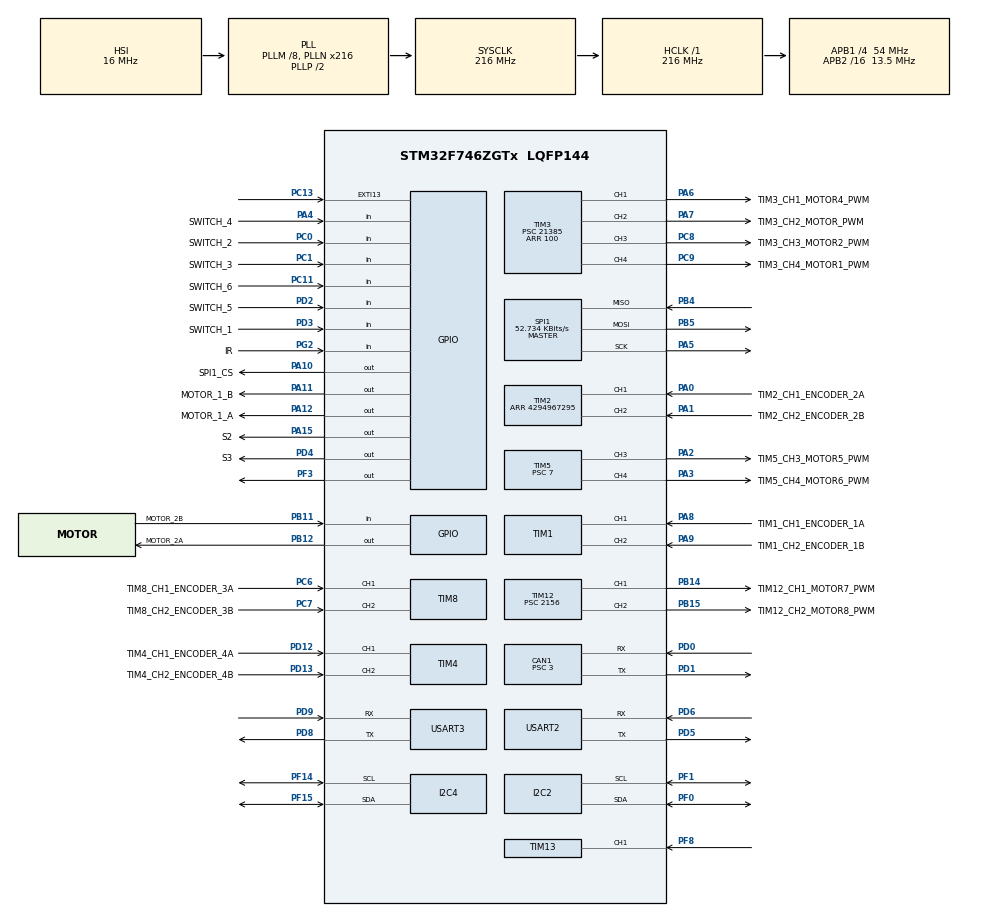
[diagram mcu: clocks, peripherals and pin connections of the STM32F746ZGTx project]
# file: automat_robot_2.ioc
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CAN1.BS1=CAN_BS1_16TQ
CAN1.BS2=CAN_BS2_1TQ
CAN1.CalculateBaudRate=1000000
CAN1.CalculateTimeBit=1000
CAN1.CalculateTimeQuantum=55.55555555555556
CAN1.NART=ENABLE
CAN1.Prescaler=3
FREERTOS.Tasks01=Wheelcontrol,0,128,Wheeltask,Default,NULL,Dynamic,NULL,NULL;Joystick,0,2048,task2_joystick,Default,NULL,Dynamic,NULL,NULL;updowncontrol,0,512,dcmotor,Default,NULL,Dynamic,NULL,NULL;Target_pos,0,512,Colorcheck,Default,NULL,Dynamic,NULL,NULL;Color,-3,128,StartTask05,Default,NULL,Dynamic,NULL,NULL
I2C2.Timing=0x20404768
I2C4.Timing=0x20404768
Mcu.Family=STM32F7
Mcu.Name=STM32F746ZGTx
Mcu.Package=LQFP144
NVIC.PriorityGroup=NVIC_PRIORITYGROUP_4
NVIC.TIM1_UP_TIM10_IRQn=true\:5\:0\:false\:false\:true\:true\:true\:true\:true
NVIC.TIM8_UP_TIM13_IRQn=true\:5\:0\:false\:false\:true\:true\:true\:true\:true
PA0/WKUP.GPIO_Label=TIM2_CH1_ENCODER_2A
PA0/WKUP.Signal=S_TIM2_CH1_ETR
PA1.GPIO_Label=TIM2_CH2_ENCODER_2B
PA1.Signal=S_TIM2_CH2
PA10.GPIO_Label=SPI1_CS
PA10.Signal=GPIO_Output
PA11.GPIO_Label=MOTOR_1_B
PA11.Signal=GPIO_Output
PA12.GPIO_Label=MOTOR_1_A
PA12.Signal=GPIO_Output
PA13.Mode=Serial_Wire
PA13.Signal=SYS_JTMS-SWDIO
PA14.Mode=Serial_Wire
PA14.Signal=SYS_JTCK-SWCLK
PA15.GPIO_Label=S2
PA15.Signal=GPIO_Output
PA2.GPIO_Label=TIM5_CH3_MOTOR5_PWM
PA2.Signal=S_TIM5_CH3
PA3.GPIO_Label=TIM5_CH4_MOTOR6_PWM
PA3.Signal=S_TIM5_CH4
PA4.GPIO_Label=SWITCH_4
PA4.Signal=GPIO_Input
PA5.Mode=Full_Duplex_Master
PA5.Signal=SPI1_SCK
PA6.GPIO_Label=TIM3_CH1_MOTOR4_PWM
PA6.Signal=S_TIM3_CH1
PA7.GPIO_Label=TIM3_CH2_MOTOR_PWM
PA7.Signal=S_TIM3_CH2
PA8.GPIO_Label=TIM1_CH1_ENCODER_1A
PA8.Signal=S_TIM1_CH1
PA9.GPIO_Label=TIM1_CH2_ENCODER_1B
PA9.Signal=S_TIM1_CH2
PB11.GPIO_Label=MOTOR_2B
PB11.Signal=GPIO_Input
PB12.GPIO_Label=MOTOR_2A
PB12.Signal=GPIO_Output
PB14.GPIO_Label=TIM12_CH1_MOTOR7_PWM
PB14.Signal=S_TIM12_CH1
PB15.GPIO_Label=TIM12_CH2_MOTOR8_PWM
PB15.Signal=S_TIM12_CH2
PB4.GPIO_PuPd=GPIO_PULLUP
PB4.Mode=Full_Duplex_Master
PB4.Signal=SPI1_MISO
PB5.Mode=Full_Duplex_Master
PB5.Signal=SPI1_MOSI
PC0.GPIO_Label=SWITCH_2
PC0.Signal=GPIO_Input
PC1.GPIO_Label=SWITCH_3
PC1.Signal=GPIO_Input
PC11.GPIO_Label=SWITCH_6
PC11.Signal=GPIO_Input
PC13.Signal=GPXTI13
PC14/OSC32_IN.Mode=LSE-External-Oscillator
PC14/OSC32_IN.Signal=RCC_OSC32_IN
PC15/OSC32_OUT.Mode=LSE-External-Oscillator
PC15/OSC32_OUT.Signal=RCC_OSC32_OUT
PC6.GPIO_Label=TIM8_CH1_ENCODER_3A
PC6.Signal=S_TIM8_CH1
PC7.GPIO_Label=TIM8_CH2_ENCODER_3B
PC7.Signal=S_TIM8_CH2
PC8.GPIO_Label=TIM3_CH3_MOTOR2_PWM
PC8.Signal=S_TIM3_CH3
PC9.GPIO_Label=TIM3_CH4_MOTOR1_PWM
PC9.Signal=S_TIM3_CH4
PD0.Mode=CAN_Activate
PD0.Signal=CAN1_RX
PD1.Mode=CAN_Activate
PD1.Signal=CAN1_TX
PD12.GPIO_Label=TIM4_CH1_ENCODER_4A
PD12.Signal=S_TIM4_CH1
PD13.GPIO_Label=TIM4_CH2_ENCODER_4B
PD13.Signal=S_TIM4_CH2
PD2.GPIO_Label=SWITCH_5
PD2.Signal=GPIO_Input
PD3.GPIO_Label=SWITCH_1
PD3.Signal=GPIO_Input
PD4.GPIO_Label=S3
PD4.Signal=GPIO_Output
PD5.Mode=Asynchronous
PD5.Signal=USART2_TX
PD6.Mode=Asynchronous
PD6.Signal=USART2_RX
PD8.Mode=Asynchronous
PD8.Signal=USART3_TX
PD9.Mode=Asynchronous
PD9.Signal=USART3_RX
PF0.Mode=I2C
PF0.Signal=I2C2_SDA
PF1.Mode=I2C
PF1.Signal=I2C2_SCL
PF14.Mode=I2C
PF14.Signal=I2C4_SCL
PF15.Mode=I2C
PF15.Signal=I2C4_SDA
PF3.Signal=GPIO_Output
PF8.Signal=S_TIM13_CH1
PG2.GPIO_Label=IR
PG2.Signal=GPIO_Input
PH0/OSC_IN.Mode=HSE-External-Clock-Source
PH0/OSC_IN.Signal=RCC_OSC_IN
PH1/OSC_OUT.Mode=HSE-External-Clock-Source
PH1/OSC_OUT.Signal=RCC_OSC_OUT
ProjectManager.HeapSize=0x200
ProjectManager.StackSize=0x400
ProjectManager.TargetToolchain=STM32CubeIDE
RCC.48MHZClocksFreq_Value=24000000
RCC.AHBFreq_Value=216000000
RCC.APB1CLKDivider=RCC_HCLK_DIV4
RCC.APB1Freq_Value=54000000
RCC.APB1TimFreq_Value=108000000
RCC.APB2CLKDivider=RCC_HCLK_DIV16
RCC.APB2Freq_Value=13500000
RCC.APB2TimFreq_Value=27000000
RCC.CortexFreq_Value=216000000
RCC.HCLKFreq_Value=216000000
RCC.HSE_VALUE=8000000
RCC.HSI_VALUE=16000000
RCC.PLLM=8
RCC.PLLMUL=RCC_PLL_MUL9
RCC.PLLN=216
RCC.PLLQ=3
RCC.PRESCALERUSB=RCC_USBCLKSOURCE_PLL_DIV1_5
RCC.SYSCLKFreq_VALUE=216000000
RCC.SYSCLKSource=RCC_SYSCLKSOURCE_PLLCLK
RCC.SYSCLKSourceVirtual=RCC_SYSCLKSOURCE_PLLCLK
RCC.USBFreq_Value=144000000
RCC.VCOOutputFreq_Value=432000000
SH.S_TIM12_CH1.0=TIM12_CH1,PWM Generation1 CH1
SH.S_TIM12_CH2.0=TIM12_CH2,PWM Generation2 CH2
SH.S_TIM13_CH1.0=TIM13_CH1,Input_Capture1_from_TI1
SH.S_TIM1_CH1.0=TIM1_CH1,Encoder_Interface
SH.S_TIM1_CH2.0=TIM1_CH2,Encoder_Interface
SH.S_TIM2_CH1_ETR.0=TIM2_CH1,Encoder_Interface
SH.S_TIM2_CH2.0=TIM2_CH2,Encoder_Interface
SH.S_TIM3_CH1.0=TIM3_CH1,PWM Generation1 CH1
SH.S_TIM3_CH2.0=TIM3_CH2,PWM Generation2 CH2
SH.S_TIM3_CH3.0=TIM3_CH3,PWM Generation3 CH3
SH.S_TIM3_CH4.0=TIM3_CH4,PWM Generation4 CH4
SH.S_TIM4_CH1.0=TIM4_CH1,Encoder_Interface
SH.S_TIM4_CH2.0=TIM4_CH2,Encoder_Interface
SH.S_TIM5_CH3.0=TIM5_CH3,PWM Generation3 CH3
SH.S_TIM5_CH4.0=TIM5_CH4,PWM Generation4 CH4
SH.S_TIM8_CH1.0=TIM8_CH1,Encoder_Interface
SH.S_TIM8_CH2.0=TIM8_CH2,Encoder_Interface
SPI1.BaudRatePrescaler=SPI_BAUDRATEPRESCALER_256
SPI1.CLKPhase=SPI_PHASE_2EDGE
SPI1.CLKPolarity=SPI_POLARITY_HIGH
SPI1.CalculateBaudRate=52.734 KBits/s
SPI1.DataSize=SPI_DATASIZE_8BIT
SPI1.Direction=SPI_DIRECTION_2LINES
SPI1.FirstBit=SPI_FIRSTBIT_LSB
SPI1.Mode=SPI_MODE_MASTER
SPI1.VirtualType=VM_MASTER
TIM1.EncoderMode=TIM_ENCODERMODE_TI12
TIM1.IC1Polarity=TIM_ICPOLARITY_FALLING
TIM1.IC2Polarity=TIM_ICPOLARITY_FALLING
TIM12.Channel-PWM\ Generation1\ CH1=TIM_CHANNEL_1
TIM12.Channel-PWM\ Generation2\ CH2=TIM_CHANNEL_2
TIM12.OCPolarity_1=TIM_OCPOLARITY_LOW
TIM12.OCPolarity_2=TIM_OCPOLARITY_LOW
TIM12.Period=1000
TIM12.Prescaler=2156
TIM13.Channel=TIM_CHANNEL_1
TIM2.EncoderMode=TIM_ENCODERMODE_TI12
TIM2.IC1Polarity=TIM_ICPOLARITY_FALLING
TIM2.IC2Polarity=TIM_ICPOLARITY_FALLING
TIM2.Period=4294967295
TIM3.Channel-PWM\ Generation1\ CH1=TIM_CHANNEL_1
TIM3.Channel-PWM\ Generation2\ CH2=TIM_CHANNEL_2
TIM3.Channel-PWM\ Generation3\ CH3=TIM_CHANNEL_3
TIM3.Channel-PWM\ Generation4\ CH4=TIM_CHANNEL_4
TIM3.OCPolarity_4=TIM_OCPOLARITY_LOW
TIM3.Period=100
TIM3.Prescaler=21385
TIM4.EncoderMode=TIM_ENCODERMODE_TI12
TIM4.IC1Polarity=TIM_ICPOLARITY_FALLING
TIM4.IC2Polarity=TIM_ICPOLARITY_FALLING
TIM5.Channel-PWM\ Generation3\ CH3=TIM_CHANNEL_3
TIM5.Channel-PWM\ Generation4\ CH4=TIM_CHANNEL_4
TIM5.OCPolarity_3=TIM_OCPOLARITY_LOW
TIM5.Period=25000
TIM5.Prescaler=7
TIM8.EncoderMode=TIM_ENCODERMODE_TI12
TIM8.IC1Polarity=TIM_ICPOLARITY_FALLING
TIM8.IC2Polarity=TIM_ICPOLARITY_FALLING
USART2.VirtualMode-Asynchronous=VM_ASYNC
USART3.VirtualMode-Asynchronous=VM_ASYNC
VP_FREERTOS_VS_CMSIS_V1.Mode=CMSIS_V1
VP_TIM13_VS_ClockSourceINT.Mode=Enable_Timer
board=NUCLEO-F746ZG

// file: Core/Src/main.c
/* USER CODE BEGIN Header */
/**
  ******************************************************************************
  * @file           : main.c
  * @brief          : Main program body
  ******************************************************************************
  * @attention
  *
  * Copyright (c) 2024 STMicroelectronics.
  * All rights reserved.
  *
  * This software is licensed under terms that can be found in the LICENSE file
  * in the root directory of this software component.
  * If no LICENSE file comes with this software, it is provided AS-IS.
  *
  ******************************************************************************
  */
/* USER CODE END Header */
#include "main.h"
#include "cmsis_os.h"

/* USER CODE BEGIN Includes */
#include "stdio.h"
#include "string.h"
#include "math.h"
#include "stdlib.h"
#include "stdbool.h"
#include "mainpp.h"
/* USER CODE END Includes */

/* USER CODE BEGIN PTD */
#define CAN1_DEVICE_NUM     4
#define FIRST_GROUP_ID      0x200
#define MOTOR_SPEED_MAX     16384
#define CAN_DATA_SIZE       8
#define CAN1_RX_ID_START    0x201
#define MOTOR_ID            4
#define spi_enable      HAL_GPIO_WritePin(GPIOA, GPIO_PIN_10, GPIO_PIN_RESET)
#define spi_disable     HAL_GPIO_WritePin(GPIOA, GPIO_PIN_10, GPIO_PIN_SET)
/* USER CODE END PTD */

/* USER CODE BEGIN PD */
typedef struct
{
	float KP;
	float KI;
	float KD;
	int error;
	int I_error;
	int D_error;
	int lastError;

} PID_Variables;
typedef struct
{
	int LY;
	int LX;
	int RY;
	int RX;
	double X;
	double Y;
}joystick_variables;

typedef struct
{
	int target_pos;
	int32_t my_pos;
	float ControlSignal;
	int PWM;
}DC_Motor;
typedef struct
{
	int16_t setpoint;
	int16_t Out;
	uint16_t ID;
	int16_t en_speed;
} M3508_Variables;
#define MPU6050_ADDR 0xD0
#define SMPLRT_DIV_REG 0x19
#define GYRO_CONFIG_REG 0x1B
#define ACCEL_CONFIG_REG 0x1C
#define ACCEL_XOUT_H_REG 0x3B
#define TEMP_OUT_H_REG 0x41
#define GYRO_XOUT_H_REG 0x43
#define PWR_MGMT_1_REG 0x6B
#define WHO_AM_I_REG 0x75
/* USER CODE END PD */

CAN_HandleTypeDef hcan1;

I2C_HandleTypeDef hi2c2;
I2C_HandleTypeDef hi2c4;

SPI_HandleTypeDef hspi1;

TIM_HandleTypeDef htim1;
TIM_HandleTypeDef htim2;
TIM_HandleTypeDef htim3;
TIM_HandleTypeDef htim4;
TIM_HandleTypeDef htim5;
TIM_HandleTypeDef htim8;
TIM_HandleTypeDef htim12;
TIM_HandleTypeDef htim13;

UART_HandleTypeDef huart2;
UART_HandleTypeDef huart3;

osThreadId WheelcontrolHandle;
osThreadId JoystickHandle;
osThreadId updowncontrolHandle;
osThreadId Target_posHandle;
osThreadId ColorHandle;
/* USER CODE BEGIN PV */
int16_t Accel_X_Raw;
int16_t Accel_Y_Raw;
int16_t Accel_Z_Raw;

double pi=3.14159265359;
double ML;
double MR;
extern int right_joy;
extern double left_joy, left_y;
double speed;
double degree_a;

float freq=0;
float blue_freq;
float red_freq;
float dif=0;
float cTime=0;
float pTime=0;
float dTime=0;
float Ax;
float Ay;
float Az;

int vel_up=0;
int IR = 0;
int motor_dir=0;
int is_first=0;
int ic1=0;
int ic2=0;
int red=0;
int blue=0;
int yellow=0;
int flag=0;
int BLDC = 0;
int color_flag=0;
int color_value=0;
int imu_x=0;
int switch_1;
int switch_2;
int switch_3;
int switch_4;
int switch_5;
int switch_6;
int target_pos;
int My_pos;
int shalgaj_duusah=0;
bool bombogav_cnt = false;
bool take_ball = false;
int32_t count;
uint8_t HC_PS2_RX[9];
uint8_t HC_PS2_TX[9]={0x01, 0x42, 0x00, 0x00, 0x00, 0x00, 0x00, 0x00, 0x00,};
uint8_t RxData[1];
int16_t sensor_buff[5];

uint8_t             data[8];
uint8_t 			buffer[8];
uint32_t            pTxMailbox;
uint8_t 			rxData[8];
PID_Variables M1_pid;
PID_Variables M2_pid;
PID_Variables M3_pid;
PID_Variables M4_pid;
PID_Variables DC_pid;

M3508_Variables M1;
M3508_Variables M2;
M3508_Variables M3;
M3508_Variables M4;

DC_Motor Motor;
joystick_variables PS2;

CAN_FilterTypeDef sFilterConfig;
CAN_TxHeaderTypeDef txHeader;
CAN_RxHeaderTypeDef rxHeader;
/* USER CODE END PV */

void SystemClock_Config(void);
static void MX_GPIO_Init(void);
static void MX_USART3_UART_Init(void);
static void MX_CAN1_Init(void);
static void MX_I2C2_Init(void);
static void MX_I2C4_Init(void);
static void MX_SPI1_Init(void);
static void MX_TIM1_Init(void);
static void MX_TIM2_Init(void);
static void MX_TIM3_Init(void);
static void MX_TIM4_Init(void);
static void MX_TIM5_Init(void);
static void MX_TIM8_Init(void);
static void MX_TIM12_Init(void);
static void MX_USART2_UART_Init(void);
static void MX_TIM13_Init(void);
void Wheeltask(void const * argument);
void task2_joystick(void const * argument);
void dcmotor(void const * argument);
void Colorcheck(void const * argument);
void StartTask05(void const * argument);

/* USER CODE BEGIN PFP */
//void calculatePID(void);
void motorspeed(void);
int Color_Sensor();
/* USER CODE END PFP */

int main(void)
{

  /* MCU Configuration--------------------------------------------------------*/

  /* Reset of all peripherals, Initializes the Flash interface and the Systick. */
    HAL_Init();

  /* Configure the system clock */
  SystemClock_Config();

  /* Initialize all configured peripherals */
  MX_GPIO_Init();
  MX_USART3_UART_Init();
  MX_CAN1_Init();
  MX_I2C2_Init();
  MX_I2C4_Init();
  MX_SPI1_Init();
  MX_TIM1_Init();
  MX_TIM2_Init();
  MX_TIM3_Init();
  MX_TIM4_Init();
  MX_TIM5_Init();
  MX_TIM8_Init();
  MX_TIM12_Init();
  MX_USART2_UART_Init();
  MX_TIM13_Init();
  /* USER CODE BEGIN 2 */
  HAL_TIM_Encoder_Start(&htim2, TIM_CHANNEL_ALL);
  HAL_TIM_PWM_Start(&htim12, TIM_CHANNEL_1);
  HAL_TIM_PWM_Start(&htim12, TIM_CHANNEL_2);
  HAL_TIM_PWM_Start(&htim3, TIM_CHANNEL_4);
  HAL_TIM_IC_Start_IT(&htim13, TIM_CHANNEL_1);
//  while(1){
//	  if(mode=1){
//		  HAL_GPIO_WritePin(MOTOR_1_A_GPIO_Port, MOTOR_1_A_Pin, GPIO_PIN_SET);
//		  HAL_GPIO_WritePin(MOTOR_1_B_GPIO_Port, MOTOR_1_B_Pin, GPIO_PIN_RESET);
//		  TIM3->CCR4 = 40;
//	  }
//	  if(mode=0){
//	  		  HAL_GPIO_WritePin(MOTOR_1_A_GPIO_Port, MOTOR_1_A_Pin, GPIO_PIN_SET);
//	  		  HAL_GPIO_WritePin(MOTOR_1_B_GPIO_Port, MOTOR_1_B_Pin, GPIO_PIN_SET);
//	  		  TIM3->CCR4 = 1;
//	  	  }
//	  if(mode=-1){
//	  		  HAL_GPIO_WritePin(MOTOR_1_A_GPIO_Port, MOTOR_1_A_Pin, GPIO_PIN_RESET);
//	  		  HAL_GPIO_WritePin(MOTOR_1_B_GPIO_Port, MOTOR_1_B_Pin, GPIO_PIN_SET);
//	  		  TIM3->CCR4 = 60;
//	  	  }
//	  if(mode=2){
//	 	  		  HAL_GPIO_WritePin(MOTOR_1_A_GPIO_Port, MOTOR_1_A_Pin, GPIO_PIN_RESET);
//	 	  		  HAL_GPIO_WritePin(MOTOR_1_B_GPIO_Port, MOTOR_1_B_Pin, GPIO_PIN_RESET);
//
//	 	  	  }
//	  if(((HAL_GPIO_ReadPin(SWITCH_3_GPIO_Port, SWITCH_3_Pin))==0 || (HAL_GPIO_ReadPin(SWITCH_4_GPIO_Port, SWITCH_4_Pin))==0)&& RX[4]==254){
//		mode=1;
//	  }
//	  if(((HAL_GPIO_ReadPin(SWITCH_1_GPIO_Port, SWITCH_1_Pin))==0 || (HAL_GPIO_ReadPin(SWITCH_2_GPIO_Port, SWITCH_2_Pin))==0)&& RX[4]==255){
//	  		mode=0;
//	  	  }
//	  if(((HAL_GPIO_ReadPin(SWITCH_1_GPIO_Port, SWITCH_1_Pin))==0 || (HAL_GPIO_ReadPin(SWITCH_2_GPIO_Port, SWITCH_2_Pin))==0)&& RX[4]==254){
//	  	  		mode=-1;
//	  	  	  }
//	  if(((HAL_GPIO_ReadPin(SWITCH_3_GPIO_Port, SWITCH_3_Pin))==0 || (HAL_GPIO_ReadPin(SWITCH_4_GPIO_Port, SWITCH_4_Pin))==0)&& RX[4]==255){
//	  	  		mode=2;
//	  	  	  }
//
//  }

  /* USER CODE END 2 */

  /* Create the thread(s) */
  /* definition and creation of Wheelcontrol */
  osThreadDef(Wheelcontrol, Wheeltask, osPriorityNormal, 0, 128);
  WheelcontrolHandle = osThreadCreate(osThread(Wheelcontrol), NULL);

  /* definition and creation of Joystick */
  osThreadDef(Joystick, task2_joystick, osPriorityNormal, 0, 2048);
  JoystickHandle = osThreadCreate(osThread(Joystick), NULL);

  /* definition and creation of updowncontrol */
  osThreadDef(updowncontrol, dcmotor, osPriorityNormal, 0, 512);
  updowncontrolHandle = osThreadCreate(osThread(updowncontrol), NULL);

  /* definition and creation of Target_pos */
  osThreadDef(Target_pos, Colorcheck, osPriorityNormal, 0, 512);
  Target_posHandle = osThreadCreate(osThread(Target_pos), NULL);

  /* definition and creation of Color */
  osThreadDef(Color, StartTask05, osPriorityIdle, 0, 128);
  ColorHandle = osThreadCreate(osThread(Color), NULL);

  /* Start scheduler */
  osKernelStart();

  /* We should never get here as control is now taken by the scheduler */
  /* Infinite loop */
  while (1)
  {

  }
}

void SystemClock_Config(void)
{
  RCC_OscInitTypeDef RCC_OscInitStruct = {0};
  RCC_ClkInitTypeDef RCC_ClkInitStruct = {0};

  /** Configure LSE Drive Capability
  */
  HAL_PWR_EnableBkUpAccess();

  /** Configure the main internal regulator output voltage
  */
  __HAL_RCC_PWR_CLK_ENABLE();
  __HAL_PWR_VOLTAGESCALING_CONFIG(PWR_REGULATOR_VOLTAGE_SCALE1);

  /** Initializes the RCC Oscillators according to the specified parameters
  * in the RCC_OscInitTypeDef structure.
  */
  RCC_OscInitStruct.OscillatorType = RCC_OSCILLATORTYPE_HSI;
  RCC_OscInitStruct.HSIState = RCC_HSI_ON;
  RCC_OscInitStruct.HSICalibrationValue = RCC_HSICALIBRATION_DEFAULT;
  RCC_OscInitStruct.PLL.PLLState = RCC_PLL_ON;
  RCC_OscInitStruct.PLL.PLLSource = RCC_PLLSOURCE_HSI;
  RCC_OscInitStruct.PLL.PLLM = 8;
  RCC_OscInitStruct.PLL.PLLN = 216;
  RCC_OscInitStruct.PLL.PLLP = RCC_PLLP_DIV2;
  RCC_OscInitStruct.PLL.PLLQ = 3;
  if (HAL_RCC_OscConfig(&RCC_OscInitStruct) != HAL_OK)
  {
    Error_Handler();
  }

  /** Activate the Over-Drive mode
  */
  if (HAL_PWREx_EnableOverDrive() != HAL_OK)
  {
    Error_Handler();
  }

  /** Initializes the CPU, AHB and APB buses clocks
  */
  RCC_ClkInitStruct.ClockType = RCC_CLOCKTYPE_HCLK|RCC_CLOCKTYPE_SYSCLK
                              |RCC_CLOCKTYPE_PCLK1|RCC_CLOCKTYPE_PCLK2;
  RCC_ClkInitStruct.SYSCLKSource = RCC_SYSCLKSOURCE_PLLCLK;
  RCC_ClkInitStruct.AHBCLKDivider = RCC_SYSCLK_DIV1;
  RCC_ClkInitStruct.APB1CLKDivider = RCC_HCLK_DIV4;
  RCC_ClkInitStruct.APB2CLKDivider = RCC_HCLK_DIV16;

  if (HAL_RCC_ClockConfig(&RCC_ClkInitStruct, FLASH_LATENCY_7) != HAL_OK)
  {
    Error_Handler();
  }
}

static void MX_CAN1_Init(void)
{

  hcan1.Instance = CAN1;
  hcan1.Init.Prescaler = 3;
  hcan1.Init.Mode = CAN_MODE_NORMAL;
  hcan1.Init.SyncJumpWidth = CAN_SJW_1TQ;
  hcan1.Init.TimeSeg1 = CAN_BS1_16TQ;
  hcan1.Init.TimeSeg2 = CAN_BS2_1TQ;
  hcan1.Init.TimeTriggeredMode = DISABLE;
  hcan1.Init.AutoBusOff = DISABLE;
  hcan1.Init.AutoWakeUp = DISABLE;
  hcan1.Init.AutoRetransmission = ENABLE;
  hcan1.Init.ReceiveFifoLocked = DISABLE;
  hcan1.Init.TransmitFifoPriority = DISABLE;
  if (HAL_CAN_Init(&hcan1) != HAL_OK)
  {
    Error_Handler();
  }

}

static void MX_I2C2_Init(void)
{

  hi2c2.Instance = I2C2;
  hi2c2.Init.Timing = 0x20404768;
  hi2c2.Init.OwnAddress1 = 0;
  hi2c2.Init.AddressingMode = I2C_ADDRESSINGMODE_7BIT;
  hi2c2.Init.DualAddressMode = I2C_DUALADDRESS_DISABLE;
  hi2c2.Init.OwnAddress2 = 0;
  hi2c2.Init.OwnAddress2Masks = I2C_OA2_NOMASK;
  hi2c2.Init.GeneralCallMode = I2C_GENERALCALL_DISABLE;
  hi2c2.Init.NoStretchMode = I2C_NOSTRETCH_DISABLE;
  if (HAL_I2C_Init(&hi2c2) != HAL_OK)
  {
    Error_Handler();
  }

  /** Configure Analogue filter
  */
  if (HAL_I2CEx_ConfigAnalogFilter(&hi2c2, I2C_ANALOGFILTER_ENABLE) != HAL_OK)
  {
    Error_Handler();
  }

  /** Configure Digital filter
  */
  if (HAL_I2CEx_ConfigDigitalFilter(&hi2c2, 0) != HAL_OK)
  {
    Error_Handler();
  }

}

static void MX_I2C4_Init(void)
{

  hi2c4.Instance = I2C4;
  hi2c4.Init.Timing = 0x20404768;
  hi2c4.Init.OwnAddress1 = 0;
  hi2c4.Init.AddressingMode = I2C_ADDRESSINGMODE_7BIT;
  hi2c4.Init.DualAddressMode = I2C_DUALADDRESS_DISABLE;
  hi2c4.Init.OwnAddress2 = 0;
  hi2c4.Init.OwnAddress2Masks = I2C_OA2_NOMASK;
  hi2c4.Init.GeneralCallMode = I2C_GENERALCALL_DISABLE;
  hi2c4.Init.NoStretchMode = I2C_NOSTRETCH_DISABLE;
  if (HAL_I2C_Init(&hi2c4) != HAL_OK)
  {
    Error_Handler();
  }

  /** Configure Analogue filter
  */
  if (HAL_I2CEx_ConfigAnalogFilter(&hi2c4, I2C_ANALOGFILTER_ENABLE) != HAL_OK)
  {
    Error_Handler();
  }

  /** Configure Digital filter
  */
  if (HAL_I2CEx_ConfigDigitalFilter(&hi2c4, 0) != HAL_OK)
  {
    Error_Handler();
  }

}

static void MX_SPI1_Init(void)
{

  /* SPI1 parameter configuration*/
  hspi1.Instance = SPI1;
  hspi1.Init.Mode = SPI_MODE_MASTER;
  hspi1.Init.Direction = SPI_DIRECTION_2LINES;
  hspi1.Init.DataSize = SPI_DATASIZE_8BIT;
  hspi1.Init.CLKPolarity = SPI_POLARITY_HIGH;
  hspi1.Init.CLKPhase = SPI_PHASE_2EDGE;
  hspi1.Init.NSS = SPI_NSS_SOFT;
  hspi1.Init.BaudRatePrescaler = SPI_BAUDRATEPRESCALER_256;
  hspi1.Init.FirstBit = SPI_FIRSTBIT_LSB;
  hspi1.Init.TIMode = SPI_TIMODE_DISABLE;
  hspi1.Init.CRCCalculation = SPI_CRCCALCULATION_DISABLE;
  hspi1.Init.CRCPolynomial = 7;
  hspi1.Init.CRCLength = SPI_CRC_LENGTH_DATASIZE;
  hspi1.Init.NSSPMode = SPI_NSS_PULSE_DISABLE;
  if (HAL_SPI_Init(&hspi1) != HAL_OK)
  {
    Error_Handler();
  }

}

static void MX_TIM1_Init(void)
{

  TIM_Encoder_InitTypeDef sConfig = {0};
  TIM_MasterConfigTypeDef sMasterConfig = {0};

  htim1.Instance = TIM1;
  htim1.Init.Prescaler = 0;
  htim1.Init.CounterMode = TIM_COUNTERMODE_UP;
  htim1.Init.Period = 65535;
  htim1.Init.ClockDivision = TIM_CLOCKDIVISION_DIV1;
  htim1.Init.RepetitionCounter = 0;
  htim1.Init.AutoReloadPreload = TIM_AUTORELOAD_PRELOAD_DISABLE;
  sConfig.EncoderMode = TIM_ENCODERMODE_TI12;
  sConfig.IC1Polarity = TIM_ICPOLARITY_FALLING;
  sConfig.IC1Selection = TIM_ICSELECTION_DIRECTTI;
  sConfig.IC1Prescaler = TIM_ICPSC_DIV1;
  sConfig.IC1Filter = 0;
  sConfig.IC2Polarity = TIM_ICPOLARITY_FALLING;
  sConfig.IC2Selection = TIM_ICSELECTION_DIRECTTI;
  sConfig.IC2Prescaler = TIM_ICPSC_DIV1;
  sConfig.IC2Filter = 0;
  if (HAL_TIM_Encoder_Init(&htim1, &sConfig) != HAL_OK)
  {
    Error_Handler();
  }
  sMasterConfig.MasterOutputTrigger = TIM_TRGO_RESET;
  sMasterConfig.MasterOutputTrigger2 = TIM_TRGO2_RESET;
  sMasterConfig.MasterSlaveMode = TIM_MASTERSLAVEMODE_DISABLE;
  if (HAL_TIMEx_MasterConfigSynchronization(&htim1, &sMasterConfig) != HAL_OK)
  {
    Error_Handler();
  }

}

static void MX_TIM2_Init(void)
{

  TIM_Encoder_InitTypeDef sConfig = {0};
  TIM_MasterConfigTypeDef sMasterConfig = {0};

  htim2.Instance = TIM2;
  htim2.Init.Prescaler = 0;
  htim2.Init.CounterMode = TIM_COUNTERMODE_UP;
  htim2.Init.Period = 4294967295;
  htim2.Init.ClockDivision = TIM_CLOCKDIVISION_DIV1;
  htim2.Init.AutoReloadPreload = TIM_AUTORELOAD_PRELOAD_DISABLE;
  sConfig.EncoderMode = TIM_ENCODERMODE_TI12;
  sConfig.IC1Polarity = TIM_ICPOLARITY_FALLING;
  sConfig.IC1Selection = TIM_ICSELECTION_DIRECTTI;
  sConfig.IC1Prescaler = TIM_ICPSC_DIV1;
  sConfig.IC1Filter = 0;
  sConfig.IC2Polarity = TIM_ICPOLARITY_FALLING;
  sConfig.IC2Selection = TIM_ICSELECTION_DIRECTTI;
  sConfig.IC2Prescaler = TIM_ICPSC_DIV1;
  sConfig.IC2Filter = 0;
  if (HAL_TIM_Encoder_Init(&htim2, &sConfig) != HAL_OK)
  {
    Error_Handler();
  }
  sMasterConfig.MasterOutputTrigger = TIM_TRGO_RESET;
  sMasterConfig.MasterSlaveMode = TIM_MASTERSLAVEMODE_DISABLE;
  if (HAL_TIMEx_MasterConfigSynchronization(&htim2, &sMasterConfig) != HAL_OK)
  {
    Error_Handler();
  }

}

static void MX_TIM3_Init(void)
{

  TIM_MasterConfigTypeDef sMasterConfig = {0};
  TIM_OC_InitTypeDef sConfigOC = {0};

  htim3.Instance = TIM3;
  htim3.Init.Prescaler = 21385;
  htim3.Init.CounterMode = TIM_COUNTERMODE_UP;
  htim3.Init.Period = 100;
  htim3.Init.ClockDivision = TIM_CLOCKDIVISION_DIV1;
  htim3.Init.AutoReloadPreload = TIM_AUTORELOAD_PRELOAD_DISABLE;
  if (HAL_TIM_PWM_Init(&htim3) != HAL_OK)
  {
    Error_Handler();
  }
  sMasterConfig.MasterOutputTrigger = TIM_TRGO_RESET;
  sMasterConfig.MasterSlaveMode = TIM_MASTERSLAVEMODE_DISABLE;
  if (HAL_TIMEx_MasterConfigSynchronization(&htim3, &sMasterConfig) != HAL_OK)
  {
    Error_Handler();
  }
  sConfigOC.OCMode = TIM_OCMODE_PWM1;
  sConfigOC.Pulse = 0;
  sConfigOC.OCPolarity = TIM_OCPOLARITY_HIGH;
  sConfigOC.OCFastMode = TIM_OCFAST_DISABLE;
  if (HAL_TIM_PWM_ConfigChannel(&htim3, &sConfigOC, TIM_CHANNEL_1) != HAL_OK)
  {
    Error_Handler();
  }
  if (HAL_TIM_PWM_ConfigChannel(&htim3, &sConfigOC, TIM_CHANNEL_2) != HAL_OK)
  {
    Error_Handler();
  }
  if (HAL_TIM_PWM_ConfigChannel(&htim3, &sConfigOC, TIM_CHANNEL_3) != HAL_OK)
  {
    Error_Handler();
  }
  sConfigOC.OCPolarity = TIM_OCPOLARITY_LOW;
  if (HAL_TIM_PWM_ConfigChannel(&htim3, &sConfigOC, TIM_CHANNEL_4) != HAL_OK)
  {
    Error_Handler();
  }
  HAL_TIM_MspPostInit(&htim3);

}

static void MX_TIM4_Init(void)
{

  TIM_Encoder_InitTypeDef sConfig = {0};
  TIM_MasterConfigTypeDef sMasterConfig = {0};

  htim4.Instance = TIM4;
  htim4.Init.Prescaler = 0;
  htim4.Init.CounterMode = TIM_COUNTERMODE_UP;
  htim4.Init.Period = 65535;
  htim4.Init.ClockDivision = TIM_CLOCKDIVISION_DIV1;
  htim4.Init.AutoReloadPreload = TIM_AUTORELOAD_PRELOAD_DISABLE;
  sConfig.EncoderMode = TIM_ENCODERMODE_TI12;
  sConfig.IC1Polarity = TIM_ICPOLARITY_FALLING;
  sConfig.IC1Selection = TIM_ICSELECTION_DIRECTTI;
  sConfig.IC1Prescaler = TIM_ICPSC_DIV1;
  sConfig.IC1Filter = 0;
  sConfig.IC2Polarity = TIM_ICPOLARITY_FALLING;
  sConfig.IC2Selection = TIM_ICSELECTION_DIRECTTI;
  sConfig.IC2Prescaler = TIM_ICPSC_DIV1;
  sConfig.IC2Filter = 0;
  if (HAL_TIM_Encoder_Init(&htim4, &sConfig) != HAL_OK)
  {
    Error_Handler();
  }
  sMasterConfig.MasterOutputTrigger = TIM_TRGO_RESET;
  sMasterConfig.MasterSlaveMode = TIM_MASTERSLAVEMODE_DISABLE;
  if (HAL_TIMEx_MasterConfigSynchronization(&htim4, &sMasterConfig) != HAL_OK)
  {
    Error_Handler();
  }

}

static void MX_TIM5_Init(void)
{

  TIM_MasterConfigTypeDef sMasterConfig = {0};
  TIM_OC_InitTypeDef sConfigOC = {0};

  htim5.Instance = TIM5;
  htim5.Init.Prescaler = 7;
  htim5.Init.CounterMode = TIM_COUNTERMODE_UP;
  htim5.Init.Period = 25000;
  htim5.Init.ClockDivision = TIM_CLOCKDIVISION_DIV1;
  htim5.Init.AutoReloadPreload = TIM_AUTORELOAD_PRELOAD_DISABLE;
  if (HAL_TIM_PWM_Init(&htim5) != HAL_OK)
  {
    Error_Handler();
  }
  sMasterConfig.MasterOutputTrigger = TIM_TRGO_RESET;
  sMasterConfig.MasterSlaveMode = TIM_MASTERSLAVEMODE_DISABLE;
  if (HAL_TIMEx_MasterConfigSynchronization(&htim5, &sMasterConfig) != HAL_OK)
  {
    Error_Handler();
  }
  sConfigOC.OCMode = TIM_OCMODE_PWM1;
  sConfigOC.Pulse = 0;
  sConfigOC.OCPolarity = TIM_OCPOLARITY_LOW;
  sConfigOC.OCFastMode = TIM_OCFAST_DISABLE;
  if (HAL_TIM_PWM_ConfigChannel(&htim5, &sConfigOC, TIM_CHANNEL_3) != HAL_OK)
  {
    Error_Handler();
  }
  sConfigOC.OCPolarity = TIM_OCPOLARITY_HIGH;
  if (HAL_TIM_PWM_ConfigChannel(&htim5, &sConfigOC, TIM_CHANNEL_4) != HAL_OK)
  {
    Error_Handler();
  }
  HAL_TIM_MspPostInit(&htim5);

}

static void MX_TIM8_Init(void)
{

  TIM_Encoder_InitTypeDef sConfig = {0};
  TIM_MasterConfigTypeDef sMasterConfig = {0};

  htim8.Instance = TIM8;
  htim8.Init.Prescaler = 0;
  htim8.Init.CounterMode = TIM_COUNTERMODE_UP;
  htim8.Init.Period = 65535;
  htim8.Init.ClockDivision = TIM_CLOCKDIVISION_DIV1;
  htim8.Init.RepetitionCounter = 0;
  htim8.Init.AutoReloadPreload = TIM_AUTORELOAD_PRELOAD_DISABLE;
  sConfig.EncoderMode = TIM_ENCODERMODE_TI12;
  sConfig.IC1Polarity = TIM_ICPOLARITY_FALLING;
  sConfig.IC1Selection = TIM_ICSELECTION_DIRECTTI;
  sConfig.IC1Prescaler = TIM_ICPSC_DIV1;
  sConfig.IC1Filter = 0;
  sConfig.IC2Polarity = TIM_ICPOLARITY_FALLING;
  sConfig.IC2Selection = TIM_ICSELECTION_DIRECTTI;
  sConfig.IC2Prescaler = TIM_ICPSC_DIV1;
  sConfig.IC2Filter = 0;
  if (HAL_TIM_Encoder_Init(&htim8, &sConfig) != HAL_OK)
  {
    Error_Handler();
  }
  sMasterConfig.MasterOutputTrigger = TIM_TRGO_RESET;
  sMasterConfig.MasterOutputTrigger2 = TIM_TRGO2_RESET;
  sMasterConfig.MasterSlaveMode = TIM_MASTERSLAVEMODE_DISABLE;
  if (HAL_TIMEx_MasterConfigSynchronization(&htim8, &sMasterConfig) != HAL_OK)
  {
    Error_Handler();
  }

}

static void MX_TIM12_Init(void)
{

  TIM_OC_InitTypeDef sConfigOC = {0};

  htim12.Instance = TIM12;
  htim12.Init.Prescaler = 2156;
  htim12.Init.CounterMode = TIM_COUNTERMODE_UP;
  htim12.Init.Period = 1000;
  htim12.Init.ClockDivision = TIM_CLOCKDIVISION_DIV1;
  htim12.Init.AutoReloadPreload = TIM_AUTORELOAD_PRELOAD_DISABLE;
  if (HAL_TIM_PWM_Init(&htim12) != HAL_OK)
  {
    Error_Handler();
  }
  sConfigOC.OCMode = TIM_OCMODE_PWM1;
  sConfigOC.Pulse = 0;
  sConfigOC.OCPolarity = TIM_OCPOLARITY_LOW;
  sConfigOC.OCFastMode = TIM_OCFAST_DISABLE;
  if (HAL_TIM_PWM_ConfigChannel(&htim12, &sConfigOC, TIM_CHANNEL_1) != HAL_OK)
  {
    Error_Handler();
  }
  if (HAL_TIM_PWM_ConfigChannel(&htim12, &sConfigOC, TIM_CHANNEL_2) != HAL_OK)
  {
    Error_Handler();
  }
  HAL_TIM_MspPostInit(&htim12);

}

static void MX_TIM13_Init(void)
{

  TIM_IC_InitTypeDef sConfigIC = {0};

  htim13.Instance = TIM13;
  htim13.Init.Prescaler = 0;
  htim13.Init.CounterMode = TIM_COUNTERMODE_UP;
  htim13.Init.Period = 65535;
  htim13.Init.ClockDivision = TIM_CLOCKDIVISION_DIV1;
  htim13.Init.AutoReloadPreload = TIM_AUTORELOAD_PRELOAD_DISABLE;
  if (HAL_TIM_Base_Init(&htim13) != HAL_OK)
  {
    Error_Handler();
  }
  if (HAL_TIM_IC_Init(&htim13) != HAL_OK)
  {
    Error_Handler();
  }
  sConfigIC.ICPolarity = TIM_INPUTCHANNELPOLARITY_RISING;
  sConfigIC.ICSelection = TIM_ICSELECTION_DIRECTTI;
  sConfigIC.ICPrescaler = TIM_ICPSC_DIV1;
  sConfigIC.ICFilter = 0;
  if (HAL_TIM_IC_ConfigChannel(&htim13, &sConfigIC, TIM_CHANNEL_1) != HAL_OK)
  {
    Error_Handler();
  }

}

static void MX_USART2_UART_Init(void)
{

  huart2.Instance = USART2;
  huart2.Init.BaudRate = 115200;
  huart2.Init.WordLength = UART_WORDLENGTH_8B;
  huart2.Init.StopBits = UART_STOPBITS_1;
  huart2.Init.Parity = UART_PARITY_NONE;
  huart2.Init.Mode = UART_MODE_TX_RX;
  huart2.Init.HwFlowCtl = UART_HWCONTROL_NONE;
  huart2.Init.OverSampling = UART_OVERSAMPLING_16;
  huart2.Init.OneBitSampling = UART_ONE_BIT_SAMPLE_DISABLE;
  huart2.AdvancedInit.AdvFeatureInit = UART_ADVFEATURE_NO_INIT;
  if (HAL_UART_Init(&huart2) != HAL_OK)
  {
    Error_Handler();
  }

}

static void MX_USART3_UART_Init(void)
{

  huart3.Instance = USART3;
  huart3.Init.BaudRate = 115200;
  huart3.Init.WordLength = UART_WORDLENGTH_8B;
  huart3.Init.StopBits = UART_STOPBITS_1;
  huart3.Init.Parity = UART_PARITY_NONE;
  huart3.Init.Mode = UART_MODE_TX_RX;
  huart3.Init.HwFlowCtl = UART_HWCONTROL_NONE;
  huart3.Init.OverSampling = UART_OVERSAMPLING_16;
  huart3.Init.OneBitSampling = UART_ONE_BIT_SAMPLE_DISABLE;
  huart3.AdvancedInit.AdvFeatureInit = UART_ADVFEATURE_NO_INIT;
  if (HAL_UART_Init(&huart3) != HAL_OK)
  {
    Error_Handler();
  }

}

static void MX_GPIO_Init(void)
{
  GPIO_InitTypeDef GPIO_InitStruct = {0};

  /* GPIO Ports Clock Enable */
  __HAL_RCC_GPIOC_CLK_ENABLE();
  __HAL_RCC_GPIOF_CLK_ENABLE();
  __HAL_RCC_GPIOH_CLK_ENABLE();
  __HAL_RCC_GPIOA_CLK_ENABLE();
  __HAL_RCC_GPIOB_CLK_ENABLE();
  __HAL_RCC_GPIOD_CLK_ENABLE();
  __HAL_RCC_GPIOG_CLK_ENABLE();

  /*Configure GPIO pin Output Level */
  HAL_GPIO_WritePin(GPIOF, GPIO_PIN_3, GPIO_PIN_RESET);

  /*Configure GPIO pin Output Level */
  HAL_GPIO_WritePin(MOTOR_2A_GPIO_Port, MOTOR_2A_Pin, GPIO_PIN_RESET);

  /*Configure GPIO pin Output Level */
  HAL_GPIO_WritePin(GPIOA, SPI1_CS_Pin|MOTOR_1_B_Pin|MOTOR_1_A_Pin|S2_Pin, GPIO_PIN_RESET);

  /*Configure GPIO pin Output Level */
  HAL_GPIO_WritePin(S3_GPIO_Port, S3_Pin, GPIO_PIN_RESET);

  /*Configure GPIO pin : PC13 */
  GPIO_InitStruct.Pin = GPIO_PIN_13;
  GPIO_InitStruct.Mode = GPIO_MODE_IT_RISING;
  GPIO_InitStruct.Pull = GPIO_NOPULL;
  HAL_GPIO_Init(GPIOC, &GPIO_InitStruct);

  /*Configure GPIO pin : PF3 */
  GPIO_InitStruct.Pin = GPIO_PIN_3;
  GPIO_InitStruct.Mode = GPIO_MODE_OUTPUT_PP;
  GPIO_InitStruct.Pull = GPIO_NOPULL;
  GPIO_InitStruct.Speed = GPIO_SPEED_FREQ_LOW;
  HAL_GPIO_Init(GPIOF, &GPIO_InitStruct);

  /*Configure GPIO pins : SWITCH_2_Pin SWITCH_3_Pin SWITCH_6_Pin */
  GPIO_InitStruct.Pin = SWITCH_2_Pin|SWITCH_3_Pin|SWITCH_6_Pin;
  GPIO_InitStruct.Mode = GPIO_MODE_INPUT;
  GPIO_InitStruct.Pull = GPIO_NOPULL;
  HAL_GPIO_Init(GPIOC, &GPIO_InitStruct);

  /*Configure GPIO pin : SWITCH_4_Pin */
  GPIO_InitStruct.Pin = SWITCH_4_Pin;
  GPIO_InitStruct.Mode = GPIO_MODE_INPUT;
  GPIO_InitStruct.Pull = GPIO_NOPULL;
  HAL_GPIO_Init(SWITCH_4_GPIO_Port, &GPIO_InitStruct);

  /*Configure GPIO pin : MOTOR_2B_Pin */
  GPIO_InitStruct.Pin = MOTOR_2B_Pin;
  GPIO_InitStruct.Mode = GPIO_MODE_INPUT;
  GPIO_InitStruct.Pull = GPIO_NOPULL;
  HAL_GPIO_Init(MOTOR_2B_GPIO_Port, &GPIO_InitStruct);

  /*Configure GPIO pin : MOTOR_2A_Pin */
  GPIO_InitStruct.Pin = MOTOR_2A_Pin;
  GPIO_InitStruct.Mode = GPIO_MODE_OUTPUT_PP;
  GPIO_InitStruct.Pull = GPIO_NOPULL;
  GPIO_InitStruct.Speed = GPIO_SPEED_FREQ_LOW;
  HAL_GPIO_Init(MOTOR_2A_GPIO_Port, &GPIO_InitStruct);

  /*Configure GPIO pin : IR_Pin */
  GPIO_InitStruct.Pin = IR_Pin;
  GPIO_InitStruct.Mode = GPIO_MODE_INPUT;
  GPIO_InitStruct.Pull = GPIO_NOPULL;
  HAL_GPIO_Init(IR_GPIO_Port, &GPIO_InitStruct);

  /*Configure GPIO pins : SPI1_CS_Pin MOTOR_1_B_Pin MOTOR_1_A_Pin S2_Pin */
  GPIO_InitStruct.Pin = SPI1_CS_Pin|MOTOR_1_B_Pin|MOTOR_1_A_Pin|S2_Pin;
  GPIO_InitStruct.Mode = GPIO_MODE_OUTPUT_PP;
  GPIO_InitStruct.Pull = GPIO_NOPULL;
  GPIO_InitStruct.Speed = GPIO_SPEED_FREQ_LOW;
  HAL_GPIO_Init(GPIOA, &GPIO_InitStruct);

  /*Configure GPIO pins : SWITCH_5_Pin SWITCH_1_Pin */
  GPIO_InitStruct.Pin = SWITCH_5_Pin|SWITCH_1_Pin;
  GPIO_InitStruct.Mode = GPIO_MODE_INPUT;
  GPIO_InitStruct.Pull = GPIO_NOPULL;
  HAL_GPIO_Init(GPIOD, &GPIO_InitStruct);

  /*Configure GPIO pin : S3_Pin */
  GPIO_InitStruct.Pin = S3_Pin;
  GPIO_InitStruct.Mode = GPIO_MODE_OUTPUT_PP;
  GPIO_InitStruct.Pull = GPIO_NOPULL;
  GPIO_InitStruct.Speed = GPIO_SPEED_FREQ_LOW;
  HAL_GPIO_Init(S3_GPIO_Port, &GPIO_InitStruct);

}

/* USER CODE BEGIN 4 */
void MotorUp(void){
	HAL_GPIO_WritePin(MOTOR_1_A_GPIO_Port, MOTOR_1_A_Pin, GPIO_PIN_RESET);
	HAL_GPIO_WritePin(MOTOR_1_B_GPIO_Port, MOTOR_1_B_Pin, GPIO_PIN_SET);
	TIM3 ->CCR4 = 40;
}
void MotorDown(void)
{

	HAL_GPIO_WritePin(MOTOR_1_A_GPIO_Port, MOTOR_1_A_Pin, GPIO_PIN_SET);
	HAL_GPIO_WritePin(MOTOR_1_B_GPIO_Port, MOTOR_1_B_Pin, GPIO_PIN_RESET);
	TIM3 ->CCR4 = 65;
}
void MotorStop(void)
{
	TIM3 -> CCR4 = 1;
	HAL_GPIO_WritePin(MOTOR_1_A_GPIO_Port, MOTOR_1_A_Pin, GPIO_PIN_SET);
	HAL_GPIO_WritePin(MOTOR_1_B_GPIO_Port, MOTOR_1_B_Pin, GPIO_PIN_SET);
}
void HAL_TIM_IC_CaptureCallback(TIM_HandleTypeDef *htim)
{
//	if(htim->Instance==TIM5){
//		Motor.my_pos = ((int32_t)__HAL_TIM_GET_COUNTER(htim)) / 100;
//	}
	if(htim-> Instance == TIM13){
		  if(is_first == 0){
			  ic1 = HAL_TIM_ReadCapturedValue(htim, TIM_CHANNEL_1);
			  is_first = 1;
		  }
		  else{
			  ic2 = HAL_TIM_ReadCapturedValue(htim, TIM_CHANNEL_1);
			  if(ic2>ic1)
			  {
				  dif = ic2 - ic1;
			  }
			  else if(ic1>ic2){
				  dif = (0xffffffff-ic1) + ic2;
			  }
			  freq = dif;
			  is_first = 0;
		  }

	}
}
//void calculatePID()
//{
//
//	cTime = HAL_GetTick();
//	Motor.my_pos = ((int32_t)TIM2->CNT)/100;
//	dTime = (cTime - pTime)/10000;
//	DC_pid.error = Motor.target_pos - Motor.my_pos;
//	DC_pid.I_error += (DC_pid.error * dTime);
//	DC_pid.D_error = (DC_pid.error - DC_pid.lastError)/dTime;
//	Motor.ControlSignal = (DC_pid.KP*DC_pid.error) + (DC_pid.I_error*DC_pid.KI) + (DC_pid.D_error*DC_pid.KD);
//	HAL_Delay(1);
//	pTime = cTime;
//	DC_pid.lastError = DC_pid.error;
//}
//void motorspeed(){
//	if(Motor.ControlSignal<0)
//		motor_dir = -1;
//	else if(Motor.ControlSignal>0)
//		motor_dir = 1;
//	else
//		motor_dir = 0;
//	Motor.PWM = (int)fabs(Motor.ControlSignal);
//	if(Motor.PWM > 120)
//		TIM3 -> CCR4 = 1;
////	TIM8 -> CCR2 = 50;
//	if(Motor.PWM < 120 && DC_pid.error != 0){
//		TIM3 -> CCR4 = 60;
//	}
//	if(motor_dir == 1){
//		MotorUp();
//	}else if(motor_dir == (-1)){
//		MotorDown();
//	}else{
//		MotorStop();
//	}
//}

int Color_Sensor(){
	HAL_GPIO_WritePin(S3_GPIO_Port, S3_Pin, SET);
	HAL_GPIO_WritePin(S2_GPIO_Port, S2_Pin, RESET);
	// blue check
//	color_flag=1;
	HAL_TIM_IC_Start_IT(&htim13, TIM_CHANNEL_1);
	HAL_Delay(10);
	red_freq=freq;
//	color_flag=0;
	HAL_GPIO_WritePin(S3_GPIO_Port, S3_Pin, RESET);
	HAL_GPIO_WritePin(S2_GPIO_Port, S2_Pin, RESET);
	HAL_Delay(10);
	blue_freq=freq;
	HAL_TIM_IC_Stop_IT(&htim13, TIM_CHANNEL_1);
	if(blue_freq>=17000 && red_freq<=7200){
		//blue ball
		color_flag=-1;
	}
	if(red_freq>=14000 && blue_freq<=5500){
		//red ball
		color_flag=1;
	}
//	if(red_freq<=5000 && blue_freq<=5100){
//		// purple ball
//		color_flag=0;
//	}
	if(abs(red_freq-blue_freq)<=2500){
		color_flag=0;
	}
	return color_flag;

}
/* USER CODE END 4 */

void Wheeltask(void const * argument)
{
  for(;;)
  {
    osDelay(1);
  }
}

void task2_joystick(void const * argument)
{
  /* USER CODE BEGIN task2_joystick */
  /* Infinite loop */
  for(;;)
  {
	  count = TIM2->CNT;
		  spi_enable;
		  HAL_SPI_TransmitReceive(&hspi1, HC_PS2_TX, HC_PS2_RX, 9, 10);
		  spi_disable;
		  PS2.LY=-(HC_PS2_RX[8]-127);  //left_y;
		  PS2.LX=(HC_PS2_RX[7]-127);  //left_joy
		  PS2.RY=HC_PS2_RX[6]-128;
		  PS2.RX=HC_PS2_RX[5]-128;
		  PS2.RX = right_joy;
		  PS2.X=PS2.LX/(float)128;
		  PS2.Y=PS2.LY/(float)128;
	  	  speed=sqrt(PS2.X*PS2.X+PS2.Y*PS2.Y);
	  	  degree_a=atan2(PS2.Y,PS2.X);
	  	  ML=sin(degree_a-pi/4)*speed*MOTOR_SPEED_MAX;
	  	  MR=cos(degree_a-pi/4)*speed*MOTOR_SPEED_MAX;
	  	  if(HC_PS2_RX[4]==251){
	  		  BLDC = 1;
	  	  }else if(HC_PS2_RX[4]==254){
	  		  BLDC = 2;
	  	  }else if(HC_PS2_RX[4]==247){
	  		  yellow=1;
	  		  target_pos = 1820;
	  	  }else if(HC_PS2_RX[4]==253){
	  		  yellow=2;
	  		  target_pos = 0;
	  	  }
	  	  if((abs(PS2.LY) > 5 || abs(PS2.LX)>5 )&& abs(PS2.RX)<=5){
	  		  if(ML>12000 || MR>12000){
	  			  if(ML > MR){
	  				  MR=MR/ML*12000;
	  				  ML=12000;

	  			  }
	  			  else{
	  				  ML=(ML/MR)*12000;
	  				  MR=12000;
	  			  }
	  		  }
	  		  else if(ML<-12000 || MR<-12000){
	  			  if(ML < MR){
	  				  MR=-MR/ML*12000;
	  				  ML=-12000;

	  			  }
	  			  else{
	  				  ML=-ML/MR*12000;
	  				  MR=-12000;
	  			  }
	  		  }
	  		  else if(ML>12000 || MR<-12000){
	  			  if(ML > -MR){
	  				  MR=MR/ML*12000;
	  				  ML=12000;

	  			  }
	  			  else{
	  				  ML=-ML/MR*12000;
	  				  MR=-12000;
	  			  }
	  		  }
	  		  else if(MR>12000 || ML<-12000){
	  			  if(MR > -ML){
	  				  ML=ML/MR*12000;
	  				  MR=12000;

	  			  }
	  			  else{
	  				  MR=-MR/ML*12000;
	  				  ML=-12000;
	  			  }
	  		  }
	  		  M1.setpoint=-MR;
	  		  M2.setpoint=ML;
	  		  M4.setpoint=-ML;
	  		  M3.setpoint=MR;
	  	  }
	  	  else if(abs(PS2.LY)<=5 && abs(PS2.LX)<=5 && abs(PS2.RX)>5){
	  		  M1.setpoint=-MOTOR_SPEED_MAX*PS2.RX/500;
	  		  M2.setpoint=-MOTOR_SPEED_MAX*PS2.RX/500;
	  		  M3.setpoint=-MOTOR_SPEED_MAX*PS2.RX/500;
	  		  M4.setpoint=-MOTOR_SPEED_MAX*PS2.RX/500;
	  	  }
	  	  else if((abs(PS2.LY)>5 || abs(PS2.LX)>5) && abs(PS2.RX)>5){
	  		  PS2.X=PS2.LX/(float)128;
	  		  PS2.Y=PS2.LY/(float)128;
	  		  speed=sqrt(PS2.X*PS2.X+PS2.Y*PS2.Y);
	  //			  if(speed>=1){
	  ////				  speed=sign(speed);
	  //				  speed=1;
	  //			  }
	  //			  if(speed<=-1){
	  //				  speed=-1;
	  //			  }
	  		  degree_a=atan2(PS2.Y,PS2.X);
	  		  ML=sin(degree_a-pi/4)*speed*MOTOR_SPEED_MAX;
	  		  MR=cos(degree_a-pi/4)*speed*MOTOR_SPEED_MAX;
	  		  if(ML>12000 || MR>12000){
	  			  if(ML > MR){
	  				  MR=MR/ML*12000;
	  				  ML=12000;

	  			  }
	  			  else{
	  				  ML=ML/MR*12000;
	  				  MR=12000;
	  			  }
	  		  }
	  		  else if(ML<-12000 || MR<-12000){
	  			  if(ML < MR){
	  				  MR=-MR/ML*12000;
	  				  ML=-12000;

	  			  }
	  			  else{
	  				  ML=-ML/MR*12000;
	  				  MR=-12000;
	  			  }
	  		  }
	  		  else if(ML>12000 || MR<-12000){
	  			  if(ML > -MR){
	  				  MR=MR/ML*12000;
	  				  ML=12000;

	  			  }
	  			  else{
	  				  ML=-ML/MR*12000;
	  				  MR=-12000;
	  			  }
	  		  }
	  		  else if(MR>12000 || ML<-12000){
	  			  if(MR > -ML){
	  				  ML=ML/MR*12000;
	  				  MR=12000;

	  			  }
	  			  else{
	  				  MR=-MR/ML*12000;
	  				  ML=-12000;
	  			  }
	  		  }
	  		  M1.setpoint=-MR;
	  		  M2.setpoint=ML;
	  		  M4.setpoint=-ML;
	  		  M3.setpoint=MR;
	  		  M1.setpoint=M1.setpoint-(MOTOR_SPEED_MAX*PS2.RX/800);
	  		  M2.setpoint=M2.setpoint-(MOTOR_SPEED_MAX*PS2.RX/800);
	  		  M3.setpoint=M3.setpoint-(MOTOR_SPEED_MAX*PS2.RX/800);
	  		  M4.setpoint=M4.setpoint-(MOTOR_SPEED_MAX*PS2.RX/800);
	  	  }
	  	  else{
	  		  M1.setpoint=0;
	  		  M2.setpoint=0;
	  		  M3.setpoint=0;
	  		  M4.setpoint=0;
	  	  }
    osDelay(10);
  }
  /* USER CODE END task2_joystick */
}

void dcmotor(void const * argument)
{
  /* USER CODE BEGIN dcmotor */
//	DC_pid.error = 0;
		HAL_GPIO_WritePin(S2_GPIO_Port, S2_Pin, GPIO_PIN_RESET);
		HAL_GPIO_WritePin(S3_GPIO_Port, S3_Pin, GPIO_PIN_SET);
		TIM12->CCR1=924;
		TIM12->CCR2=924;

  /* Infinite loop */
  for(;;)
  {
//	  Color_Sensor();
	  switch_5 = HAL_GPIO_ReadPin(SWITCH_5_GPIO_Port, SWITCH_5_Pin);
	  switch_6 = HAL_GPIO_ReadPin(SWITCH_6_GPIO_Port, SWITCH_6_Pin);
	  IR=HAL_GPIO_ReadPin(IR_GPIO_Port, IR_Pin);
	  if(BLDC==1 || flag==1){
	  			TIM12->CCR1 = 935;
	  			TIM12->CCR2 = 918;
	  			flag = 1;
	  			//HAL_Delay(500);
	  			if((HAL_GPIO_ReadPin(SWITCH_5_GPIO_Port, SWITCH_5_Pin)==0) || (HAL_GPIO_ReadPin(SWITCH_6_GPIO_Port, SWITCH_6_Pin)==0)){
	  				TIM12->CCR1 = 924;
	  				TIM12->CCR2 = 924;
	  //				HAL_Delay(2000);
	  				flag = 0;
	  				BLDC = 0;
//					color_value=0;
//					osDelay(200);
					color_value=Color_Sensor();
//					TIM12->CCR1 = 918;
//					TIM12->CCR2 = 918;
//					osDelay(300);
//					color_value=color_value + Color_Sensor();
//					osDelay(300);
//					TIM12->CCR1 = 924;
//					TIM12->CCR2 = 924;
//					color_value=color_value + Color_Sensor();
					if(color_value !=0){
						  yellow=1;
						  target_pos = 1820;
						  //shalgaj_duusah=1;
					}
					else{
						//shalgaj_duusah=0;
						TIM12->CCR1 = 918;
						TIM12->CCR2 = 935;
						osDelay(500);
						TIM12->CCR1 = 924;
						TIM12->CCR2 = 924;
						}

	  			}
	  		}
	  		else if(BLDC==2 && flag==0){
	  			//HAL_Delay(200);
	  			if((HAL_GPIO_ReadPin(IR_GPIO_Port, IR_Pin)) == 1){
					TIM12->CCR1 = 924;
					TIM12->CCR2 = 924;
					osDelay(2000);
					take_ball = false;
					BLDC = 0;
					yellow=2;
					target_pos = 0;
				}else{
					TIM12->CCR1 = 918;
					TIM12->CCR2 = 935;
//					osDelay(1000);
//					TIM12->CCR1 = 924;
//					TIM12->CCR2 = 924;
//					osDelay(1000);
//					harah = 1;
					//break;
				}
	  		}
    osDelay(5);
  }
  /* USER CODE END dcmotor */
}

void Colorcheck(void const * argument)
{
  /* USER CODE BEGIN Colorcheck */
//	Motor.my_pos = TIM2->CNT=0;
//	DC_pid.KP = 0.7;
//	DC_pid.KI = 0.0005;
//	DC_pid.KD = 0.00003;
//	Motor.target_pos=0;
	switch_3 = HAL_GPIO_ReadPin(SWITCH_3_GPIO_Port, SWITCH_3_Pin);

  /* Infinite loop */
  for(;;)
  {
	  switch_1 = HAL_GPIO_ReadPin(SWITCH_1_GPIO_Port, SWITCH_1_Pin);
	  switch_2 = HAL_GPIO_ReadPin(SWITCH_2_GPIO_Port, SWITCH_2_Pin);
	  switch_3 = HAL_GPIO_ReadPin(SWITCH_3_GPIO_Port, SWITCH_3_Pin);
	  switch_4 = HAL_GPIO_ReadPin(SWITCH_4_GPIO_Port, SWITCH_4_Pin);
	  if(yellow==2 && target_pos == 0){//target pos = 0
	  		 if(((HAL_GPIO_ReadPin(SWITCH_3_GPIO_Port, SWITCH_3_Pin))==0 || (HAL_GPIO_ReadPin(SWITCH_4_GPIO_Port, SWITCH_4_Pin))==0)){
	  			 MotorStop();
	  //			 Motor.target_pos=0;
//	  			 TIM2->CNT=0;
	  			 My_pos=0;
	  			 yellow=0;
	  //			 break;
	  		 }else{
	  		 	 target_pos= 0;
//	  			 calculatePID();
	  			 MotorDown();
	  			 TIM12->CCR1 =924;
	  			TIM12->CCR2 =924;
	  		 }
	  	}else if(yellow==1 && target_pos == 1820){//target pos = 1800
	  		 if(((HAL_GPIO_ReadPin(SWITCH_2_GPIO_Port, SWITCH_2_Pin))==0 || (HAL_GPIO_ReadPin(SWITCH_1_GPIO_Port, SWITCH_1_Pin))==0)){
	  			 MotorStop();
	  			 My_pos = 1820;
	  			 target_pos = 0;
//	  			 TIM2->CNT = 182000;
	  			 yellow=0;
	  //			 break;
	  		 }else{
	  		 	 target_pos = 1820;
//	  			 calculatePID();
	  			 MotorUp();
	  		 }
	  	}else{
	  		if((HAL_GPIO_ReadPin(SWITCH_3_GPIO_Port, SWITCH_3_Pin) == 0) || (HAL_GPIO_ReadPin(SWITCH_4_GPIO_Port, SWITCH_4_Pin) == 0)){
	  			MotorStop();
	  			yellow = 0;
	  		}
	  	 }
    osDelay(2);
  }
  /* USER CODE END Colorcheck */
}

void StartTask05(void const * argument)
{
  /* USER CODE BEGIN StartTask05 */
	setup();
  /* Infinite loop */
  for(;;)
  {

	  if(HAL_GPIO_ReadPin(SWITCH_1_GPIO_Port, SWITCH_1_Pin)==1){
	  		  sensor_buff[4]=sensor_buff[4]|0b00000001;
	  	  }
	  	  else{
	  		  sensor_buff[4]=sensor_buff[4]&0b11111110;
	  	  }
	  	  if(HAL_GPIO_ReadPin(SWITCH_1_GPIO_Port, SWITCH_1_Pin)==1){
	  		  sensor_buff[4]=sensor_buff[4]|0b00000010;
	  	  }
	  	  else{
	  		  sensor_buff[4]=sensor_buff[4]&0b11111101;
	  	  }
	  	  if(HAL_GPIO_ReadPin(SWITCH_3_GPIO_Port, SWITCH_3_Pin)==1){
	  		  sensor_buff[4]=sensor_buff[4]|0b00000100;
	  	  }
	  	  else{
	  		  sensor_buff[4]=sensor_buff[4]&0b11111011;
	  	  }
	  	  if(HAL_GPIO_ReadPin(SWITCH_3_GPIO_Port, SWITCH_3_Pin)==1){
	  		  sensor_buff[4]=sensor_buff[4]|0b00001000;
	  	  }
	  	  else{
	  		  sensor_buff[4]=sensor_buff[4]&0b11110111;
	  	  }
	  	  if(HAL_GPIO_ReadPin(SWITCH_5_GPIO_Port, SWITCH_5_Pin)==1){
	  		  sensor_buff[4]=sensor_buff[4]|0b00010000;
	  	  }
	  	  else{
	  		  sensor_buff[4]=sensor_buff[4]&0b11101111;
	  	  }
	  	  if(HAL_GPIO_ReadPin(SWITCH_5_GPIO_Port, SWITCH_5_Pin)==1){
	  		  sensor_buff[4]=sensor_buff[4]|0b00100000;
	  	  }
	  	  else{
	  		  sensor_buff[4]=sensor_buff[4]&0b11011111;
	  	  }
	  	  if(HAL_GPIO_ReadPin(IR_GPIO_Port, IR_Pin)==1){
	  		  sensor_buff[4]=sensor_buff[4]|0b01000000;
	  	  }
	  	  else{
	  		  sensor_buff[4]=sensor_buff[4]&0b10111111;
	  	  }
	  	  sensor_buff[0]=M1.en_speed;
	  	  sensor_buff[1]=M2.en_speed;
	  	  sensor_buff[2]=M3.en_speed;
	  	  sensor_buff[3]=M4.en_speed;
	  	  loop();
    osDelay(10);
  }
  /* USER CODE END StartTask05 */
}

void Error_Handler(void)
{
  __disable_irq();
  while (1)
  {
  }
}
